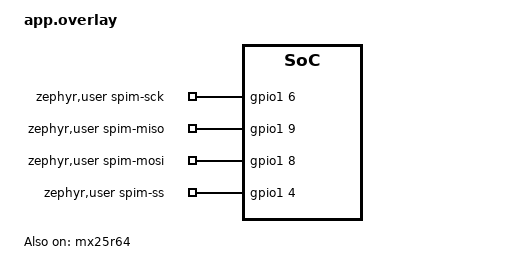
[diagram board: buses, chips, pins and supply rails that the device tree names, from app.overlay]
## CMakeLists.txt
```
#
# Copyright (c) 2024 Nordic Semiconductor ASA
#
# SPDX-License-Identifier: LicenseRef-Nordic-5-Clause
#

cmake_minimum_required(VERSION 3.20.0)

find_package(Zephyr REQUIRED HINTS $ENV{ZEPHYR_BASE})
project(sensor_hub_with_dppi_lm20)
target_sources(app PRIVATE src/main.c)
```

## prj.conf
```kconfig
CONFIG_LOG=y 
CONFIG_NRFX_SPIM=y
CONFIG_NRFX_GPPI=y
CONFIG_NRFX_TIMER=y
CONFIG_FLASH=y
#CONFIG_SPI_NOR_FLASH_LAYOUT_PAGE_SIZE=4096

CONFIG_BT=y
CONFIG_BT_PERIPHERAL=y
CONFIG_BT_DEVICE_NAME="benchmark"

CONFIG_RESET_ON_FATAL_ERROR=n
```

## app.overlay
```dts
/ {
	zephyr,user {
		/* Using low level driver directly so it is not strictly 
		 * necessary to use pin assigments in DT, but doing it
		 * to help prevent overlapping pin assigments. 
		 */
		spim-sck-gpios = <&gpio1 6 0>;
		spim-miso-gpios = <&gpio1 9 0>;
		spim-mosi-gpios = <&gpio1 8 0>;
		spim-ss-gpios = <&gpio1 4 0>;
	};
};

&timer22 {
	status = "reserved";
};
/* Reserve access to SPIM21 and the other serial interfaces which share the
 * same instance number.
 */
&spi21 {
	status = "reserved";
};
&i2c21 {
	status = "reserved";
};
&uart21 {
	status = "reserved";
};

&mx25r64 {
	status = "okay";
};
```

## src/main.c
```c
/**
 * Hardware-triggered SPI sensor sampling with flash storage and BLE advertising.
 *
 * This application demonstrates high frequency and low power SPI sensor sampling
 *   1. SPIM — Performs DMA-based SPI transactions to read sensor data.
 *   2. GRTC — Generates periodic compare events at the
 *      configured sample rate, triggering each SPI transfer without CPU involvement.
 *   3. TIMER (counter mode) — Counts completed SPI transfers. When a full batch
 *      (SENSOR_SAMPLES_PER_REPORT) has been collected, it fires an interrupt.
 *   4. DPPI — Wires the above
 *      peripherals together in hardware so the SPI transfers can be started without
 *      without cpu involvement.
 *
 */

#include <zephyr/kernel.h>
#include <zephyr/device.h>
#include <string.h>
#include <zephyr/bluetooth/bluetooth.h>
#include <zephyr/drivers/flash.h>
#include <zephyr/sys/__assert.h>

#include <nrfx_spim.h>
#include <nrfx_timer.h>
#include <hal/nrf_gpio.h>
#include <zephyr/drivers/timer/nrf_grtc_timer.h>
#include <nrfx_grtc.h>
#include <helpers/nrfx_gppi.h>

#include <zephyr/logging/log.h>
LOG_MODULE_REGISTER(app);

/* To set up a repeating trigger interval with GRTC we must use channel 0, but this channel
 * is currently reserved to the zephyr system timer. Starting from SDK v3.3.0
 * the app should be be able to request this channel for itself. Until then, please cherry-pick
 * the commit from the PR linked below.
 * 
 * https://docs.nordicsemi.com/bundle/ps_nrf54LM20A/page/grtc.html#d616e367
 */
BUILD_ASSERT(DT_NODE_HAS_PROP(DT_NODELABEL(grtc), extended_channels),
	     "GRTC extended channels support is required (see "
	     "https://github.com/nrfconnect/sdk-zephyr/pull/3877).");
/*
 * Peripheral instance index must match the devicetree node labels used in app.overlay
 * (spi21, timer22).
 */
#define SPIM_INSTANCE_IDX 21
#define SPIM_NODE         DT_NODELABEL(_CONCAT(spi, SPIM_INSTANCE_IDX))

/* SPI pin mapping sourced from the "zephyr,user" devicetree node */
#define USER_NODE DT_PATH(zephyr_user)

#define SPIM_CLK_PIN  DT_GPIO_PIN(USER_NODE, spim_sck_gpios)
#define SPIM_MISO_PIN DT_GPIO_PIN(USER_NODE, spim_miso_gpios)
#define SPIM_MOSI_PIN DT_GPIO_PIN(USER_NODE, spim_mosi_gpios)
#define SPIM_SS_PIN   DT_GPIO_PIN(USER_NODE, spim_ss_gpios)

#define SPIM_CLK_PORT  DT_PROP(DT_GPIO_CTLR(USER_NODE, spim_sck_gpios), port)
#define SPIM_MISO_PORT DT_PROP(DT_GPIO_CTLR(USER_NODE, spim_miso_gpios), port)
#define SPIM_MOSI_PORT DT_PROP(DT_GPIO_CTLR(USER_NODE, spim_mosi_gpios), port)
#define SPIM_SS_PORT   DT_PROP(DT_GPIO_CTLR(USER_NODE, spim_ss_gpios), port)

#define TIMER_HW_COUNTER_INSTANCE_IDX 22
#define HW_COUNTER_NODE               DT_NODELABEL(_CONCAT(timer, TIMER_HW_COUNTER_INSTANCE_IDX))
/*
 * Samples are collected at SENSOR_SAMPLE_RATE_HZ and batched into groups of
 * SENSOR_SAMPLES_PER_REPORT before being handed to the main thread.
 */
#define SENSOR_SAMPLE_SIZE            sizeof(uint32_t)
#define SENSOR_REPORT_RATE_HZ         1
#define SENSOR_SAMPLE_RATE_HZ         1000
#define SENSOR_SAMPLE_PERIOD_US       (1000000 / SENSOR_SAMPLE_RATE_HZ)

BUILD_ASSERT((SENSOR_SAMPLE_RATE_HZ % SENSOR_REPORT_RATE_HZ) == 0,
	     "SENSOR_SAMPLE_RATE_HZ must be divisible by SENSOR_REPORT_RATE_HZ");

#define SENSOR_SAMPLES_PER_REPORT (SENSOR_SAMPLE_RATE_HZ / SENSOR_REPORT_RATE_HZ)

#define ADVERTISING_INTERVAL 1600
#define DEVICE_NAME          CONFIG_BT_DEVICE_NAME
#define DEVICE_NAME_LEN      (sizeof(DEVICE_NAME) - 1)

const struct device *flash_dev = DEVICE_DT_GET_ONE(jedec_spi_nor);

/* Dummy TX payload — in a real application this would be the sensor read command. */
static uint8_t spim_tx[] = {0xAA, 0x55};
/*
 * Double-buffered RX area. While the DMA fills one buffer the main thread can
 * consume the other. Each buffer holds one full batch
 * of samples (SENSOR_SAMPLES_PER_REPORT × SENSOR_SAMPLE_SIZE bytes).
 */
static uint8_t spim_rx[2][SENSOR_SAMPLES_PER_REPORT * SENSOR_SAMPLE_SIZE];
static uint8_t *current_rx_buffer;

/*
 * rx_length is set to a single SENSOR_SAMPLE_SIZE
 * because SPIM EasyDMA array-list mode (NRFX_SPIM_FLAG_RX_POSTINC) automatically
 * increments the RX pointer by rx_length after each transaction.
 */
nrfx_spim_xfer_desc_t xfer_desc =
	NRFX_SPIM_XFER_TRX(spim_tx, sizeof(spim_tx), spim_rx[0], SENSOR_SAMPLE_SIZE);

struct sensor_sample_batch {
	uint8_t *data;
};

K_MSGQ_DEFINE(sensor_msgq, sizeof(struct sensor_sample_batch), 16, 4);

static nrfx_timer_t counter_timer_inst =
	NRFX_TIMER_INSTANCE(NRF_TIMER_INST_GET(TIMER_HW_COUNTER_INSTANCE_IDX));
static nrfx_spim_t spim_inst = NRFX_SPIM_INSTANCE(NRF_SPIM_INST_GET(SPIM_INSTANCE_IDX));
/* GRTC compare channel used to generate the periodic sample trigger. */
static int32_t grtc_channel;

static const struct bt_data ad[] = {
	BT_DATA_BYTES(BT_DATA_FLAGS, (BT_LE_AD_GENERAL | BT_LE_AD_NO_BREDR)),
	BT_DATA(BT_DATA_NAME_COMPLETE, DEVICE_NAME, DEVICE_NAME_LEN),
};

/*
 * During autonomous (DPPI-driven) operation the NRFX_SPIM_FLAG_NO_XFER_EVT_HANDLER
 * flag suppresses this callback
 */
static void spi_cb(nrfx_spim_event_t const *p_event, void *p_context)
{
	ARG_UNUSED(p_context);

	LOG_HEXDUMP_INF(p_event->xfer_desc.p_rx_buffer, p_event->xfer_desc.rx_length, "SPI RX:");
}

static void spi_init(void)
{
	int err;
	const uint32_t spim_clk = NRF_GPIO_PIN_MAP(SPIM_CLK_PORT, SPIM_CLK_PIN);
	const uint32_t spim_mosi = NRF_GPIO_PIN_MAP(SPIM_MOSI_PORT, SPIM_MOSI_PIN);
	const uint32_t spim_miso = NRF_GPIO_PIN_MAP(SPIM_MISO_PORT, SPIM_MISO_PIN);
	const uint32_t spim_ss = NRF_GPIO_PIN_MAP(SPIM_SS_PORT, SPIM_SS_PIN);

	/* Connect SPIM instance IRQ to irq handler */
	IRQ_CONNECT(DT_IRQN(SPIM_NODE), DT_IRQ(SPIM_NODE, priority), nrfx_spim_irq_handler,
		    &spim_inst, 0);

	nrfx_spim_config_t config =
		NRFX_SPIM_DEFAULT_CONFIG(spim_clk, spim_mosi, spim_miso, spim_ss);

	/*
	 * Change default configuration to prevent workaround for errata 8 from being enabled
	 * in the driver. Otherwise there will be an interrupt triggered for each transaction.
	 *
	 * Errata description:
	 * https://docs.nordicsemi.com/bundle/errata_nRF54LM20A_EngB/page/ERR/nRF54LM20A/EngineeringB/latest/anomaly_20A_8.html#anomaly_20A_8
	 *
	 * Workaround implementation:
	 * https://github.com/zephyrproject-rtos/hal_nordic/blob/70c1b32dd68753b0604beab377392ed5ebc19176/nrfx/drivers/src/nrfx_spim.c#L455
	 */
	config.frequency = NRFX_MHZ_TO_HZ(8);

	config.use_hw_ss = true;
	config.miso_pull = NRF_GPIO_PIN_PULLUP;

	err = nrfx_spim_init(&spim_inst, &config, spi_cb, NULL);
	if (err) {
		LOG_ERR("nrfx_spim_init() failed. (err: %d)", err);
		return;
	}
}
/*
 * Switches the DMA target to the idle buffer so the previously filled buffer
 * can be safely consumed by the main thread.
 */
static void spi_new_buffer_prepare(void)
{
	int err;

	/* Swap receive buffers */
	current_rx_buffer = (xfer_desc.p_rx_buffer == spim_rx[0]) ? spim_rx[1] : spim_rx[0];

	xfer_desc.p_rx_buffer = current_rx_buffer;

	err = nrfx_spim_xfer(&spim_inst, &xfer_desc,
			     NRFX_SPIM_FLAG_NO_XFER_EVT_HANDLER | NRFX_SPIM_FLAG_RX_POSTINC |
				     NRFX_SPIM_FLAG_REPEATED_XFER | NRFX_SPIM_FLAG_HOLD_XFER);
	if (err) {
		LOG_ERR("nrfx_spim_xfer() failed. (err: %d)", err);
	}
}
/*
 * Counter compare interrupt called when the number of samples has reached
 * SENSOR_SAMPLES_PER_REPORT.
 */
void batch_samples_complete(nrf_timer_event_t event_type, void *p_context)
{
	ARG_UNUSED(event_type);
	ARG_UNUSED(p_context);

	int err;
	struct sensor_sample_batch samples;

	samples.data = current_rx_buffer;
	spi_new_buffer_prepare();
	err = k_msgq_put(&sensor_msgq, &samples, K_NO_WAIT);
	if (err) {
		LOG_ERR("k_msgq_put() failed. (err: %d)", err);
	}
}

/*
 * Set up counter to keep track of the number of SPI transfers and to trigger an interrupt when the
 * SPI dma buffer has been filled.
 */
static void timer_counter_init(void)
{
	int err;
	nrfx_timer_config_t config = NRFX_TIMER_DEFAULT_CONFIG(NRFX_MHZ_TO_HZ(1));
	config.mode = NRF_TIMER_MODE_LOW_POWER_COUNTER;

	/* Connect TIMER COUNTER instance IRQ to irq handler */
	IRQ_CONNECT(DT_IRQN(HW_COUNTER_NODE), DT_IRQ(HW_COUNTER_NODE, priority),
		    nrfx_timer_irq_handler, &counter_timer_inst, 0);

	err = nrfx_timer_init(&counter_timer_inst, &config, batch_samples_complete);
	if (err) {
		LOG_ERR("nrfx_timer_init() for HW counter failed. (err: %d)", err);
		return;
	}

	nrfx_timer_extended_compare(&counter_timer_inst, NRF_TIMER_CC_CHANNEL0,
				    SENSOR_SAMPLES_PER_REPORT, NRF_TIMER_SHORT_COMPARE0_CLEAR_MASK,
				    true);
}
/*
 * Allocate GRTC channel 0 for periodic triggering.
 */
static void timer_trigger_init(void)
{
	grtc_channel = z_nrf_grtc_timer_ext_chan_alloc();
	__ASSERT_NO_MSG(grtc_channel > 0);
}

/* Use DPPI with gppi helper API HW to connect peripheral tasks and events.
 *   GRTC compare event -> SPIM START task
 *       Each periodic tick triggers an SPI transaction.
 *
 *   SPIM END event ->  TIMER COUNT task
 *       Each completed transaction increments the batch counter.
 */
static void hw_link_init(void)
{
	int err;
	nrfx_gppi_handle_t gppi_handles[2];

	/* Connection 1: GRTC tick -> start SPI transfer */
	err = nrfx_gppi_conn_alloc(z_nrf_grtc_timer_compare_evt_address_get(grtc_channel),
				   nrfx_spim_start_task_address_get(&spim_inst), &gppi_handles[0]);
	if (err) {
		LOG_ERR("gnrfx_gppi_conn_alloc() failed. (err: %d)", err);
		return;
	}

	/* Connection 2: SPI transfer complete -> increment counter */
	err = nrfx_gppi_conn_alloc(
		nrfx_spim_end_event_address_get(&spim_inst),
		nrfx_timer_task_address_get(&counter_timer_inst, NRF_TIMER_TASK_COUNT),
		&gppi_handles[1]);
	if (err) {
		LOG_ERR("gnrfx_gppi_conn_alloc() failed. (err: %d)", err);
		return;
	}

	nrfx_gppi_conn_enable(gppi_handles[0]);
	nrfx_gppi_conn_enable(gppi_handles[1]);
}

void sensor_sampling_start_single(void)
{
	int err;
	err = nrfx_spim_xfer(&spim_inst, &xfer_desc, 0);
	if (err) {
		LOG_ERR("nrfx_spim_xfer() failed. (err: %d)", err);
	}
}

void sensor_sampling_start_continuous(void)
{
	spi_new_buffer_prepare();
	nrfx_grtc_syscounter_cc_interval_reset(grtc_channel);
	nrfx_grtc_syscounter_cc_interval_set(grtc_channel, 1, SENSOR_SAMPLE_PERIOD_US);
}

void sensor_sampling_stop_continuous(void)
{
	nrfx_grtc_syscounter_cc_interval_reset(grtc_channel);
}

static void flash_init(void)
{
	int err;

	if (!device_is_ready(flash_dev)) {
		LOG_ERR("%s: device not ready.\n", flash_dev->name);
		return;
	}

	err = flash_erase(flash_dev, 0, CONFIG_SPI_NOR_FLASH_LAYOUT_PAGE_SIZE);
	if (err) {
		LOG_ERR("Failed to erase flash. (err: %d)", err);
	} else {
		LOG_INF("Succesfully erased %d kB", CONFIG_SPI_NOR_FLASH_LAYOUT_PAGE_SIZE / 1024);
	}
}

/**
 * Program sequence:
 *   1. Prepare one flash page for sensor data by erasing it
 *   2. Configure SPI, GRTC trigger, batch counter, and DPPI connections.
 *   3. Start BLE advertising.
 *   4. Run a single SPI transfer.
 *   5. Enter autonomous sampling mode.
 *   6. Main loop: dequeue completed batches and write them to flash.
 *   7. Stop sampling once the flash page is full.
 */
int main(void)
{
	int err;
	size_t write_offset = 0;
	size_t write_len = SENSOR_SAMPLES_PER_REPORT * SENSOR_SAMPLE_SIZE;
	struct sensor_sample_batch samples;

	flash_init();
	spi_init();
	timer_trigger_init();
	timer_counter_init();
	hw_link_init();

	bt_enable(NULL);
	err = bt_le_adv_start(BT_LE_ADV_PARAM(BT_LE_ADV_OPT_CONN, ADVERTISING_INTERVAL,
					      ADVERTISING_INTERVAL, NULL),
			      ad, ARRAY_SIZE(ad), NULL, 0);
	if (err) {
		LOG_ERR("bt_le_adv_start() failed. (err: %d)", err);
	}
	/* Test a single CPU triggered transfer */
	sensor_sampling_start_single();
	k_msleep(100);
	/*
	 * Start repeated transfers which are autonomously triggered by the GRTC
	 * compare event.
	 */
	sensor_sampling_start_continuous();
	while (1) {
		k_msgq_get(&sensor_msgq, &samples, K_FOREVER);
		LOG_INF("Current write offset: 0x%x", write_offset);
		err = flash_write(flash_dev, write_offset, samples.data, write_len);
		if (err) {
			LOG_ERR("flash_write() failed to write to 0x%x. (err: %d)", write_offset,
				err);
		}
		write_offset += write_len;
		if (write_offset > CONFIG_SPI_NOR_FLASH_LAYOUT_PAGE_SIZE) {
			LOG_INF("Test completed. %d samples were written to FLASH",
				(write_offset - write_len) / SENSOR_SAMPLE_SIZE);
			sensor_sampling_stop_continuous();
			break;
		}
	}
	return 0;
}
```
